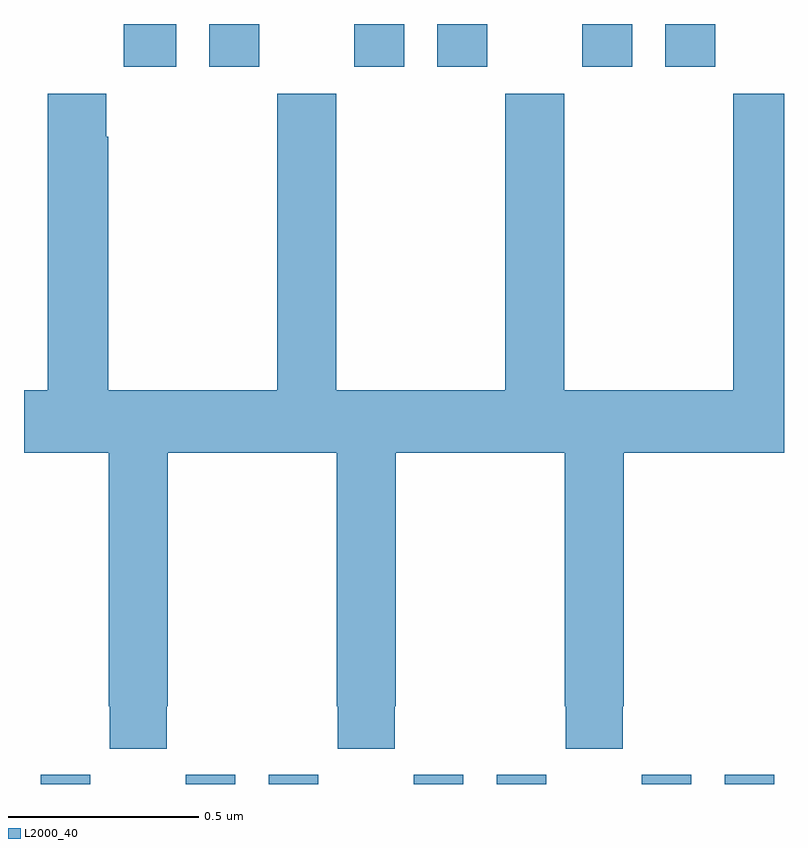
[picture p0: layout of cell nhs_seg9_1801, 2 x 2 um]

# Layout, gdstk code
import gdstk
lib = gdstk.Library(unit=1e-6, precision=1e-09)
def R(c, l, rs):  # rectangles x0, y0, x1, y1
    for r in rs: c.add(gdstk.rectangle(r[:2], r[2:], *l))
def P(c, l, *ps):  # polygons
    for p in ps: c.add(gdstk.Polygon(p, *l))
L2000_40 = (2000, 40)

nhs_seg9_1801 = lib.new_cell('nhs_seg9_1801')
R(nhs_seg9_1801, L2000_40, [(132.044,1243.5,132.174,1243.525), (132.426,1243.5,132.556,1243.525), (132.644,1243.5,132.774,1243.525), (133.026,1243.5,133.156,1243.525), (133.244,1243.5,133.374,1243.525), (133.626,1243.5,133.756,1243.525), (133.844,1243.5,133.974,1243.525), (132.488,1245.387,132.619,1245.5), (132.869,1245.387,133,1245.5), (133.088,1245.387,133.219,1245.5), (133.469,1245.387,133.6,1245.5), (133.688,1245.387,133.819,1245.5)])
P(nhs_seg9_1801, L2000_40, [(132.4,1245.5),(132.257,1245.5),(132.257,1245.499),(132.263,1245.499),(132.263,1245.387),(132.4,1245.387)],
  [(132.375,1243.705),(132.378,1243.705),(132.378,1244.372),(132.823,1244.372),(132.823,1243.705),(132.825,1243.705),(132.825,1243.593),(132.975,1243.593),(132.975,1243.705),(132.978,1243.705),(132.978,1244.372),(133.423,1244.372),(133.423,1243.705),(133.425,1243.705),(133.425,1243.593),(133.575,1243.593),(133.575,1243.705),(133.578,1243.705),(133.578,1244.372),(134,1244.372),(134,1245.316),(133.867,1245.316),(133.867,1244.536),(133.422,1244.536),(133.422,1245.316),(133.267,1245.316),(133.267,1244.536),(132.822,1244.536),(132.822,1245.316),(132.667,1245.316),(132.667,1244.536),(132.222,1244.536),(132.222,1245.203),(132.217,1245.203),(132.217,1245.316),(132.062,1245.316),(132.062,1244.536),(132,1244.536),(132,1244.372),(132.223,1244.372),(132.223,1243.705),(132.225,1243.705),(132.225,1243.593),(132.375,1243.593)])

lib.write_gds('nhs_seg9_1801.gds')
